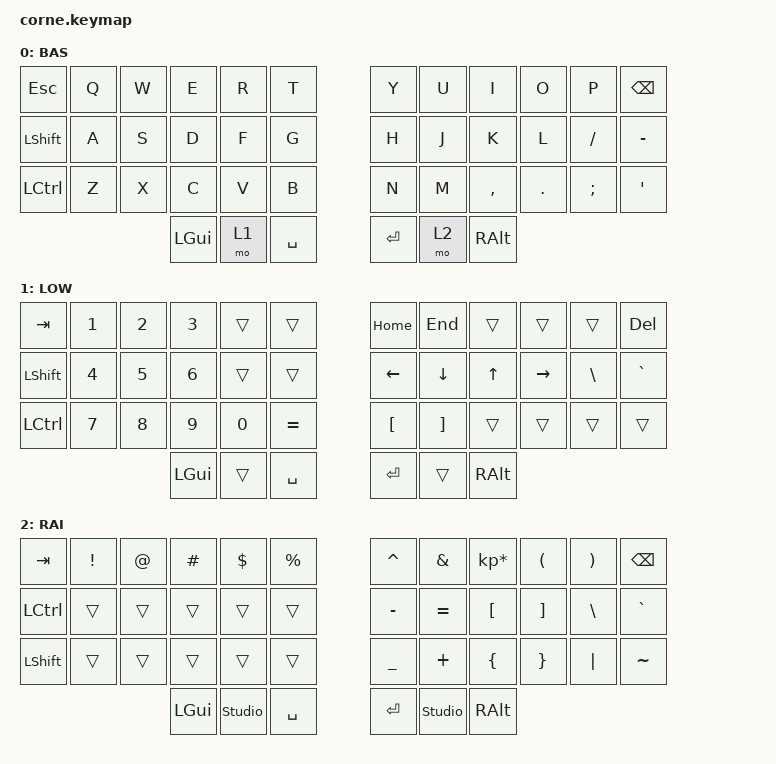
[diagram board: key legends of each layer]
/*
 * Copyright (c) 2020 The ZMK Contributors
 *
 * SPDX-License-Identifier: MIT
 */

#include <dt-bindings/led/led.h>
#include <dt-bindings/zmk/reset.h>
#include <behaviors.dtsi>
#include <dt-bindings/zmk/keys.h>

&led_strip { chain-length = <27>; };

/ {
    keymap {
        compatible = "zmk,keymap";

        default_layer {
            display-name = "BAS";

            // -----------------------------------------------------------------------------------------
            // |  TAB |  Q  |  W  |  E  |  R  |  T  |   |  Y  |  U   |  I  |  O  |  P  | BKSP |
            // | CTRL |  A  |  S  |  D  |  F  |  G  |   |  H  |  J   |  K  |  L  |  ;  |  '   |
            // | SHFT |  Z  |  X  |  C  |  V  |  B  |   |  N  |  M   |  ,  |  .  |  /  | ESC  |
            //                    | GUI | LWR | SPC |   | ENT | RSE  | ALT |

            bindings = <
&kp ESCAPE      &kp Q  &kp W  &kp E     &kp R  &kp T        &kp Y    &kp U  &kp I      &kp O    &kp P     &kp BSPC
&kp LEFT_SHIFT  &kp A  &kp S  &kp D     &kp F  &kp G        &kp H    &kp J  &kp K      &kp L    &kp FSLH  &kp MINUS
&kp LCTRL       &kp Z  &kp X  &kp C     &kp V  &kp B        &kp N    &kp M  &kp COMMA  &kp DOT  &kp SEMI  &kp APOSTROPHE
                              &kp LGUI  &mo 1  &kp SPACE    &kp RET  &mo 2  &kp RALT
            >;
        };

        lower_layer {
            display-name = "LOW";

            // -----------------------------------------------------------------------------------------
            // |  TAB |  1  |  2  |  3  |  4  |  5  |   |  6  |  7  |  8  |  9  |  0  | BKSP |
            // | BTCLR| BT1 | BT2 | BT3 | BT4 | BT5 |   | LFT | DWN |  UP | RGT |     |      |
            // | SHFT |     |     |     |     |     |   |     |     |     |     |     |      |
            //                    | GUI |     | SPC |   | ENT |     | ALT |

            bindings = <
&kp TAB         &kp N1  &kp N2  &kp N3    &trans  &trans       &kp HOME          &kp END            &trans    &trans     &trans         &kp DEL
&kp LEFT_SHIFT  &kp N4  &kp N5  &kp N6    &trans  &trans       &kp LEFT          &kp DOWN           &kp UP    &kp RIGHT  &kp BACKSLASH  &kp GRAVE
&kp LCTRL       &kp N7  &kp N8  &kp N9    &kp N0  &kp EQUAL    &kp LEFT_BRACKET  &kp RIGHT_BRACKET  &trans    &trans     &trans         &trans
                                &kp LGUI  &trans  &kp SPACE    &kp RET           &trans             &kp RALT
            >;
        };

        raise_layer {
            display-name = "RAI";

            // -----------------------------------------------------------------------------------------
            // |  TAB |  !  |  @  |  #  |  $  |  %  |   |  ^  |  &  |  *  |  (  |  )  | BKSP |
            // | CTRL |     |     |     |     |     |   |  -  |  =  |  [  |  ]  |  \  |  `   |
            // | SHFT |     |     |     |     |     |   |  _  |  +  |  {  |  }  | "|" |  ~   |
            //                    | GUI |     | SPC |   | ENT |     | ALT |

            bindings = <
&kp TAB    &kp EXCL  &kp AT  &kp HASH  &kp DLLR        &kp PRCNT    &kp CARET  &kp AMPS        &kp KP_MULTIPLY  &kp LPAR  &kp RPAR  &kp BSPC
&kp LCTRL  &trans    &trans  &trans    &trans          &trans       &kp MINUS  &kp EQUAL       &kp LBKT         &kp RBKT  &kp BSLH  &kp GRAVE
&kp LSHFT  &trans    &trans  &trans    &trans          &trans       &kp UNDER  &kp PLUS        &kp LBRC         &kp RBRC  &kp PIPE  &kp TILDE
                             &kp LGUI  &studio_unlock  &kp SPACE    &kp RET    &studio_unlock  &kp RALT
            >;
        };

        extra_1 { status = "reserved"; };

        extra_2 { status = "reserved"; };

        extra_3 { status = "reserved"; };
    };
};
